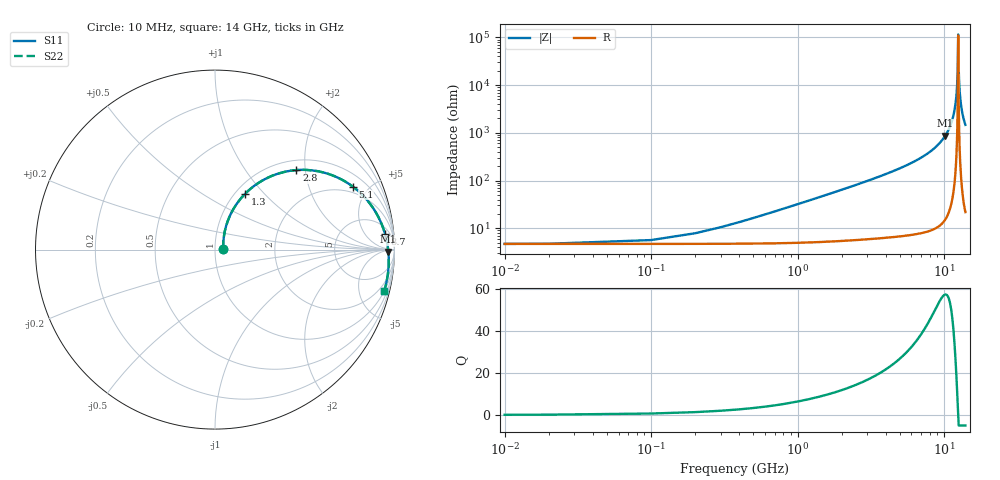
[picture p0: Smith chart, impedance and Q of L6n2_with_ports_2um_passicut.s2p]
#  GHZ S DB R 50.0
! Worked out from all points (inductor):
!   142 points, 10 MHz to 14 GHz, reference 50 ohm
!   read as one part in series: L = 4.99 nH near 500 MHz
!   highest Q = 57.2 at 10.2 GHz (marker M1), where L = 13.6 nH
!   self-resonance near 12.5 GHz
!   S11 on the Smith chart (normalised r, x): 10 MHz: 1.09, +0.01; 1.3 GHz: 1.11, +0.78; 2.8 GHz: 1.21, +1.79; 5.1 GHz: 1.62, +3.96; 8.7 GHz: 9, +17; 14 GHz: 1.02, -8.12
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0.01  -26.97 3.3  -0.40 -0.2  -0.40 -0.2  -26.97 3.3
0.6  -15.29 65.9  -0.59 -10.8  -0.59 -10.8  -15.30 65.9
1.3  -9.08 61.7  -1.11 -22.3  -1.11 -22.3  -9.08 61.7
2.4  -4.84 48.8  -2.40 -37.8  -2.40 -37.8  -4.84 48.8
2.8  -3.96 44.4  -2.96 -42.6  -2.96 -42.6  -3.96 44.4
4.7  -1.72 27.4  -5.99 -60.6  -5.99 -60.6  -1.72 27.4
5.1  -1.47 24.6  -6.68 -63.6  -6.68 -63.6  -1.47 24.6
7.1  -0.71 12.8  -10.47 -75.9  -10.47 -75.9  -0.72 12.8
8.7  -0.43 5.3  -14.19 -83.6  -14.19 -83.6  -0.44 5.3
9.4  -0.36 2.4  -16.21 -86.5  -16.21 -86.5  -0.36 2.4
10.2  -0.30 -0.7  -19.05 -89.7  -19.05 -89.7  -0.30 -0.7
11.1  -0.26 -4.0  -23.61 -92.8  -23.61 -92.8  -0.26 -4.0
11.7  -0.24 -6.1  -28.60 -94.5  -28.60 -94.5  -0.25 -6.1
12.1  -0.24 -7.5  -34.65 -94.7  -34.65 -94.7  -0.24 -7.5
12.3  -0.24 -8.2  -40.58 -93.0  -40.58 -93.0  -0.24 -8.2
12.4  -0.24 -8.5  -46.32 -88.7  -46.32 -88.7  -0.24 -8.5
12.5  -0.24 -8.9  -61.53 -25.2  -61.53 -25.2  -0.24 -8.9
12.6  -0.24 -9.2  -47.25 70.4  -47.25 70.4  -0.24 -9.2
12.7  -0.24 -9.5  -41.13 75.4  -41.13 75.4  -0.24 -9.5
12.8  -0.24 -9.9  -37.57 76.9  -37.57 76.9  -0.24 -9.9
13.2  -0.24 -11.2  -30.22 77.5  -30.22 77.5  -0.24 -11.2
14  -0.26 -13.8  -23.71 75.5  -23.71 75.5  -0.26 -13.8
